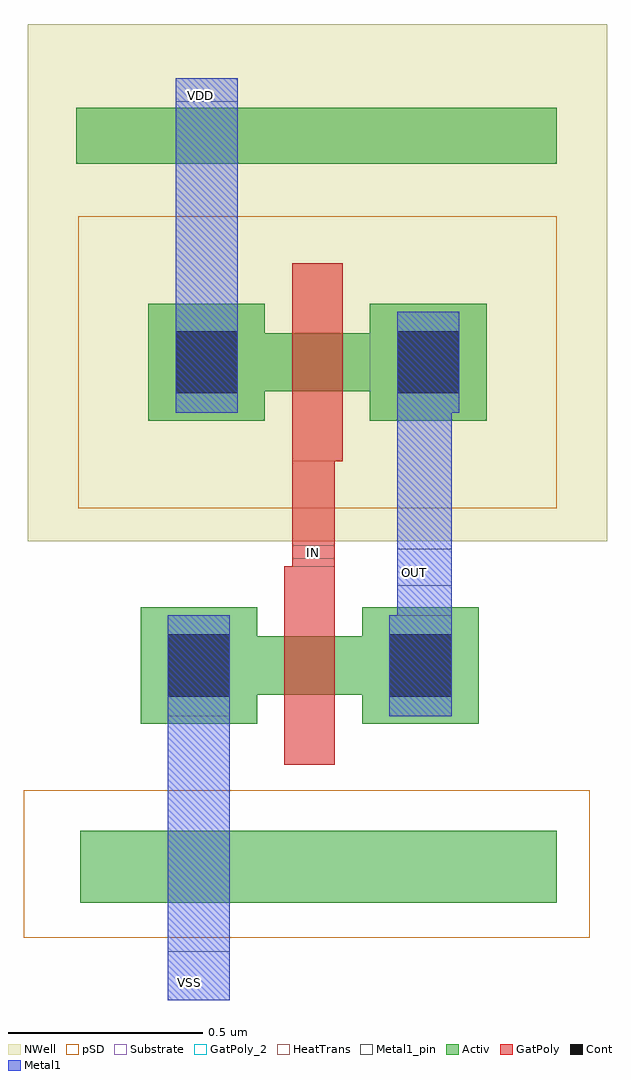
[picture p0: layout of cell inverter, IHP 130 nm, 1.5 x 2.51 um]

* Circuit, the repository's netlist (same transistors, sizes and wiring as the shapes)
** sch_path: /home/dell/EAMTA2026-VLSI/design/blocks/inverter/schematic/inverter.sch
.subckt inverter IN OUT VDD VSS
*.PININFO IN:B OUT:B VDD:B VSS:B
M1 OUT IN VSS VSS sg13_lv_nmos w=0.15u l=0.13u ng=1
M2 OUT IN VDD VDD sg13_lv_pmos w=0.15u l=0.13u ng=1
.ends

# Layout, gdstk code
import gdstk
lib = gdstk.Library(unit=1e-6, precision=5e-09)
def R(c, l, rs):  # rectangles x0, y0, x1, y1
    for r in rs: c.add(gdstk.rectangle(r[:2], r[2:], *l))
Activ = (1, 0)
GatPoly = (5, 0)
GatPoly_2 = (5, 2)
Cont = (6, 0)
Metal1 = (8, 0)
Metal1_pin = (8, 2)
pSD = (14, 0)
NWell = (31, 0)
Substrate = (40, 0)
HeatTrans = (51, 0)

nmos = lib.new_cell('nmos')
R(nmos, Activ, [(0,0,0.3,0.3), (0.57,0,0.87,0.3), (0,0.075,0.87,0.225)])
R(nmos, GatPoly, [(0.37,-0.105,0.5,0.405)])
R(nmos, GatPoly_2, [(0.37,-0.105,0.5,0.405)])
R(nmos, Cont, [(0.07,0.07,0.23,0.23), (0.64,0.07,0.8,0.23)])
R(nmos, Metal1, [(0.07,0.02,0.23,0.28), (0.64,0.02,0.8,0.28)])
R(nmos, Metal1_pin, [(0.07,0.02,0.23,0.28), (0.64,0.02,0.8,0.28)])
R(nmos, HeatTrans, [(0.37,-0.105,0.5,0.405)])
nmos.add(gdstk.Label('nmos', (0.435,0.15), layer=63, texttype=0))
nmos.add(gdstk.Label('nmos', (0.435,0.15), layer=51, texttype=0))

pmos = lib.new_cell('pmos')
R(pmos, Activ, [(0,0,0.3,0.3), (0.57,0,0.87,0.3), (0,0.075,0.87,0.225)])
R(pmos, GatPoly, [(0.37,-0.105,0.5,0.405), (0.37,-0.105,0.5,0.405)])
R(pmos, Cont, [(0.07,0.07,0.23,0.23), (0.64,0.07,0.8,0.23)])
R(pmos, Metal1, [(0.07,0.02,0.23,0.28), (0.07,0.02,0.23,0.28), (0.64,0.02,0.8,0.28), (0.64,0.02,0.8,0.28)])
R(pmos, pSD, [(-0.18,-0.225,1.05,0.525)])
R(pmos, NWell, [(-0.31,-0.31,1.18,0.61)])
R(pmos, Substrate, [(0.57,0,0.87,0.3)])
R(pmos, HeatTrans, [(0.37,-0.105,0.5,0.405)])
pmos.add(gdstk.Label('pmos', (0.435,0.15), layer=63, texttype=0))
pmos.add(gdstk.Label('pmos', (0.435,0.15), layer=51, texttype=0))

inverter = lib.new_cell('inverter')
R(inverter, Activ, [(-0.525,-0.215,0.7,-0.03), (-0.535,1.685,0.7,1.83)])
R(inverter, GatPoly, [(0.02,0.14,0.13,1.43)])
R(inverter, GatPoly_2, [(0.02,0.67,0.13,0.705)])
R(inverter, Metal1, [(-0.3,-0.465,-0.14,0.525), (0.29,0.265,0.43,1.305), (-0.28,1.045,-0.12,1.905)])
R(inverter, Metal1_pin, [(-0.3,-0.465,-0.14,-0.34), (0.29,0.6,0.43,0.695), (-0.28,1.845,-0.12,1.905)])
R(inverter, pSD, [(-0.67,-0.305,0.785,0.075)])
R(inverter, NWell, [(-0.66,0.715,0.83,2.045)])
inverter.add(gdstk.Reference(nmos, (-0.37,0.245)))
inverter.add(gdstk.Reference(pmos, (-0.35,1.025)))
inverter.add(gdstk.Label('VDD', (-0.215,1.86), layer=8, texttype=2))
inverter.add(gdstk.Label('OUT', (0.335,0.635), layer=8, texttype=2))
inverter.add(gdstk.Label('VSS', (-0.245,-0.42), layer=8, texttype=2))
inverter.add(gdstk.Label('IN', (0.075,0.685), layer=5, texttype=2))

lib.write_gds('inverter.gds')
